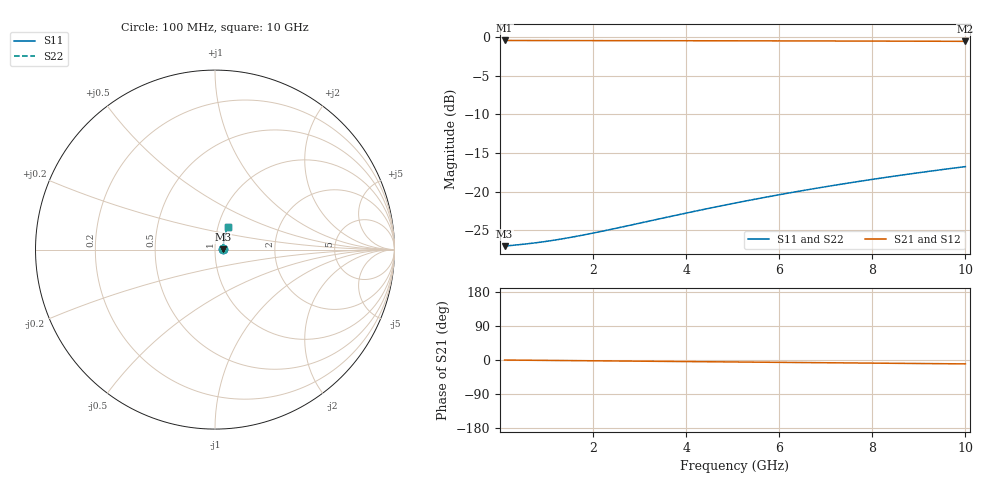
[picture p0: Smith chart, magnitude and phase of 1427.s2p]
# Hz S RI R 50.00
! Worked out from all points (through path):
!   100 points, 100 MHz to 10 GHz, reference 50 ohm
!   highest |S21| = -0.39 dB at 100 MHz (marker M1); lowest = -0.5 dB at 10 GHz (marker M2)
!   group delay of S21, straight-line fit = 2.85 ps
!   lowest |S11| = -27.1 dB at 100 MHz (marker M3), VSWR 1.09, Z = 54.6 + j0.144 ohm
!   |S11| at or under -10 dB: start of sweep to end of sweep
!   |S22| runs from -27.1 to -16.8 dB; largest |S21 - S12| = 0
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1e8  0.0442 0.00131  0.9558 -0.00173  0.9558 -0.00173  0.0442 0.00131
6e8  0.0452 0.00786  0.9548 -0.0103  0.9548 -0.0103  0.0452 0.00786
8e8  0.0454 0.0105  0.9546 -0.0138  0.9546 -0.0138  0.0454 0.0105
1e9  0.0457 0.0131  0.9543 -0.0172  0.9543 -0.0172  0.0457 0.0131
1.2e9  0.0459 0.0157  0.9541 -0.0207  0.9541 -0.0207  0.0459 0.0157
1.4e9  0.0462 0.0183  0.9538 -0.0241  0.9538 -0.0241  0.0462 0.0183
1.8e9  0.0467 0.0235  0.9533 -0.031  0.9533 -0.031  0.0467 0.0235
2.1e9  0.0471 0.0274  0.9528 -0.0361  0.9528 -0.0361  0.0471 0.0274
2.4e9  0.0475 0.0313  0.9524 -0.0412  0.9524 -0.0412  0.0475 0.0313
3.4e9  0.0492 0.0443  0.9507 -0.0583  0.9507 -0.0583  0.0492 0.0443
4.3e9  0.0511 0.0558  0.9487 -0.0736  0.9487 -0.0736  0.0511 0.0558
4.7e9  0.052 0.061  0.9478 -0.0804  0.9478 -0.0804  0.052 0.061
5.1e9  0.053 0.0661  0.9467 -0.0872  0.9467 -0.0872  0.053 0.0661
5.5e9  0.0541 0.0712  0.9456 -0.0939  0.9456 -0.0939  0.0541 0.0712
5.9e9  0.0552 0.0762  0.9445 -0.1006  0.9445 -0.1006  0.0552 0.0762
6.3e9  0.0564 0.0813  0.9432 -0.1073  0.9432 -0.1073  0.0564 0.0813
6.7e9  0.0577 0.0863  0.9419 -0.114  0.9419 -0.114  0.0577 0.0863
7.5e9  0.0604 0.0963  0.9391 -0.1273  0.9391 -0.1273  0.0604 0.0963
7.9e9  0.0619 0.1012  0.9375 -0.1339  0.9375 -0.1339  0.0619 0.1012
8.4e9  0.0638 0.1074  0.9355 -0.1421  0.9355 -0.1421  0.0638 0.1074
9.2e9  0.0671 0.1171  0.9321 -0.1552  0.9321 -0.1552  0.0671 0.1171
1e10  0.0707 0.1267  0.9284 -0.1681  0.9284 -0.1681  0.0707 0.1267
